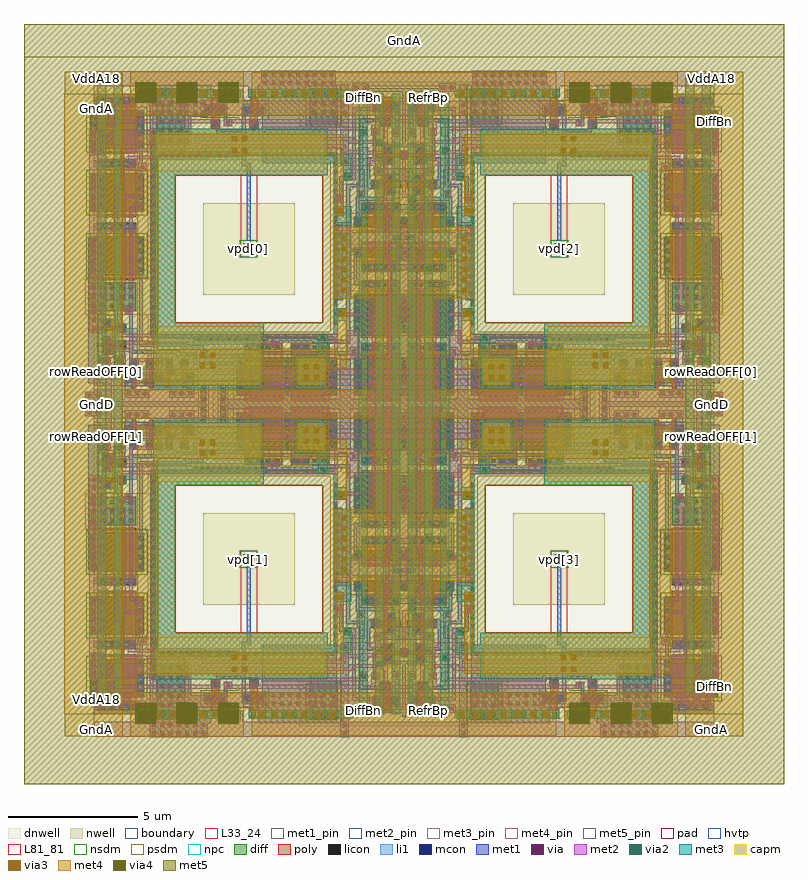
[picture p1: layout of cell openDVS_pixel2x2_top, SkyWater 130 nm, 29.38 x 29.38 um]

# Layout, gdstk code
from math import pi, radians
import gdstk
lib = gdstk.Library(unit=1e-6, precision=1e-09)
def R(c, l, rs):  # rectangles x0, y0, x1, y1
    for r in rs: c.add(gdstk.rectangle(r[:2], r[2:], *l))
def A(c, l, x, y, w, h, nx, ny, dx, dy):  # array of equal rectangles
    R(c, l, [(x+i*dx, y+j*dy, x+i*dx+w, y+j*dy+h) for i in range(nx) for j in range(ny)])
L33_24 = (33, 24)
dnwell = (64, 18)
nwell = (64, 20)
diff = (65, 20)
poly = (66, 20)
licon = (66, 44)
li1 = (67, 20)
mcon = (67, 44)
met1_pin = (68, 16)
met1 = (68, 20)
via = (68, 44)
met2_pin = (69, 16)
met2 = (69, 20)
via2 = (69, 44)
met3_pin = (70, 16)
met3 = (70, 20)
via3 = (70, 44)
met4_pin = (71, 16)
met4 = (71, 20)
via4 = (71, 44)
met5_pin = (72, 16)
met5 = (72, 20)
pad = (76, 20)
hvtp = (78, 44)
L81_81 = (81, 81)
capm = (89, 44)
nsdm = (93, 44)
psdm = (94, 20)
npc = (95, 20)
boundary = (235, 4)

contact_30_1_1 = lib.new_cell('contact$30$1$1')
R(contact_30_1_1, met4, [(-2.19,-0.59,2.19,0.59)])
A(contact_30_1_1, via4, -2, -0.4, 0.8, 0.8, 3, 1, 1.6, 0)
R(contact_30_1_1, met5, [(-2.31,-0.71,2.31,0.71)])

contact_1 = lib.new_cell('contact$1')
R(contact_1, met1, [(-1.12,-0.32,1.12,0.32)])
A(contact_1, via, -1.035, -0.235, 0.15, 0.15, 7, 2, 0.32, 0.32)
R(contact_1, met2, [(-1.12,-0.29,1.12,0.29)])

contact_26_1_1 = lib.new_cell('contact$26$1$1')
R(contact_26_1_1, met1, [(-0.16,-0.32,0.155,0.32)])
R(contact_26_1_1, via, [(-0.075,-0.235,0.075,-0.085), (-0.075,0.085,0.075,0.235)])
R(contact_26_1_1, met2, [(-0.16,-0.29,0.16,0.29)])

contact_25_1_1 = lib.new_cell('contact$25$1$1')
R(contact_25_1_1, met1, [(-1.44,-0.32,1.44,0.32)])
A(contact_25_1_1, via, -1.355, -0.235, 0.15, 0.15, 9, 2, 0.32, 0.32)
R(contact_25_1_1, met2, [(-1.44,-0.29,1.44,0.29)])

opendvs_pixel = lib.new_cell('openDVS_pixel')
R(opendvs_pixel, L33_24, [(3.31,3.275,9.01,5.83), (3.31,5.83,5.86,8.975), (6.46,5.83,9.01,8.98)])
R(opendvs_pixel, dnwell, [(3.31,3.28,9.01,8.98)])
R(opendvs_pixel, nwell, [(9.905,0.06,12.615,0.065), (4.775,0.065,12.615,2.295), (9.905,2.295,12.615,10.865), (4.39,4.36,7.93,7.9), (8.12,10.865,12.615,12.585)])
A(opendvs_pixel, diff, 0.01, 5.115, 2.1, 1.5, 1, 3, 0, 2.44)
R(opendvs_pixel, diff, [(4.325,0.065,4.495,0.875), (5.08,0.065,5.25,0.875), (5.68,0.445,9.58,1.945), (10.21,0.445,12.31,1.945), (1.355,0.935,4.055,1.355), (0.475,2.035,0.895,3.435), (2.38,2.63,9.6,2.8), (2.38,2.8,2.55,9.7), (9.43,2.8,9.6,9.7), (10.21,2.885,12.31,4.385), (-0.045,3.71,1.805,4.84), (10.21,5.775,12.31,6.195), (5.945,5.93,6.355,6.34), (11.735,6.475,12.545,6.645), (10.21,6.955,12.31,7.375), (11.425,8.195,11.845,9.045), (11.295,9.375,11.795,10.125), (2.38,9.7,9.6,9.87), (2.38,9.87,3.71,10.58), (2.58,10.58,3.71,12.335), (8.49,11.045,9.62,12.33), (5.91,11.245,6.81,11.745), (4.42,11.325,5.32,11.745), (10.935,11.4,11.955,11.82)])
A(opendvs_pixel, poly, 1.655, 0.735, 0.15, 0.82, 4, 1, 0.65, 0)
R(opendvs_pixel, poly, [(5.98,0.245,7.48,2.475), (7.78,0.245,9.28,2.475), (10.51,0.245,12.01,2.475), (1.595,1.555,1.865,1.885), (2.185,1.555,2.455,1.885), (2.955,1.555,3.225,1.885), (3.545,1.555,3.815,1.885), (1.095,2.275,1.425,2.335), (0.275,2.335,1.425,2.485), (1.095,2.485,1.425,2.545), (10.51,2.685,12.01,4.915), (1.095,2.925,1.425,2.985), (0.275,2.985,1.425,3.135), (1.095,3.135,1.425,3.195), (0.31,4.915,1.81,7.145), (10.51,5.245,12.01,6.395), (10.51,6.755,12.01,7.905), (0.31,7.355,1.81,9.585), (10.895,8.485,11.225,8.495), (10.895,8.495,12.045,8.745), (10.895,8.745,11.225,8.755), (11.995,9.615,12.325,9.675), (11.095,9.675,12.325,9.825), (0.31,9.795,1.81,11.695), (11.995,9.825,12.325,9.885), (6.21,10.715,6.51,11.945), (4.72,10.795,5.02,11.945), (11.235,10.865,11.655,12.015), (0.16,11.695,1.81,12.13)])
A(opendvs_pixel, licon, 5.745, 0.57, 0.17, 0.17, 3, 4, 1.8, 0.36)
A(opendvs_pixel, licon, 10.275, 0.57, 0.17, 0.17, 1, 4, 0, 0.36)
A(opendvs_pixel, licon, 12.075, 0.57, 0.17, 0.17, 1, 4, 0, 0.36)
A(opendvs_pixel, licon, 1.42, 1.06, 0.17, 0.17, 3, 1, 1.2, 0)
A(opendvs_pixel, licon, 6.105, 2.225, 0.17, 0.17, 4, 1, 0.36, 0)
A(opendvs_pixel, licon, 7.905, 2.225, 0.17, 0.17, 4, 1, 0.36, 0)
A(opendvs_pixel, licon, 10.635, 2.225, 0.17, 0.17, 4, 2, 0.36, 2.44)
A(opendvs_pixel, licon, 3.19, 2.63, 0.17, 0.17, 4, 1, 0.36, 0)
A(opendvs_pixel, licon, 10.275, 3.01, 0.17, 0.17, 1, 4, 0, 0.36)
A(opendvs_pixel, licon, 12.075, 3.01, 0.17, 0.17, 1, 4, 0, 0.36)
A(opendvs_pixel, licon, 2.38, 3.075, 0.17, 0.17, 1, 19, 0, 0.36)
A(opendvs_pixel, licon, 0.075, 3.83, 0.17, 0.17, 5, 3, 0.36, 0.36)
A(opendvs_pixel, licon, 0.075, 5.24, 0.17, 0.17, 1, 4, 0, 0.36)
A(opendvs_pixel, licon, 1.875, 5.24, 0.17, 0.17, 1, 4, 0, 0.36)
A(opendvs_pixel, licon, 10.635, 5.325, 0.17, 0.17, 4, 2, 0.36, 2.33)
A(opendvs_pixel, licon, 0.435, 6.895, 0.17, 0.17, 4, 3, 0.36, 2.44)
A(opendvs_pixel, licon, 0.075, 7.68, 0.17, 0.17, 1, 4, 0, 0.36)
A(opendvs_pixel, licon, 1.875, 7.68, 0.17, 0.17, 1, 4, 0, 0.36)
A(opendvs_pixel, licon, 9.43, 7.915, 0.17, 0.17, 1, 4, 0, 0.36)
A(opendvs_pixel, licon, 3.47, 9.7, 0.17, 0.17, 4, 1, 0.36, 0)
A(opendvs_pixel, licon, 0.075, 10.12, 0.17, 0.17, 1, 4, 0, 0.36)
A(opendvs_pixel, licon, 1.875, 10.12, 0.17, 0.17, 1, 4, 0, 0.36)
A(opendvs_pixel, licon, 2.7, 10.245, 0.17, 0.17, 3, 6, 0.36, 0.36)
A(opendvs_pixel, licon, 8.61, 11.325, 0.17, 0.17, 3, 3, 0.36, 0.36)
R(opendvs_pixel, licon, [(4.325,0.225,4.495,0.395), (5.08,0.225,5.25,0.395), (4.325,0.585,4.495,0.755), (5.08,0.585,5.25,0.755), (1.645,1.635,1.815,1.805), (2.235,1.635,2.405,1.805), (3.005,1.635,3.175,1.805), (3.595,1.635,3.765,1.805), (0.6,2.1,0.77,2.27), (1.175,2.325,1.345,2.495), (2.825,2.63,2.995,2.8), (4.635,2.63,4.805,2.8), (4.995,2.63,5.165,2.8), (5.36,2.63,5.53,2.8), (5.72,2.63,5.89,2.8), (6.085,2.63,6.255,2.8), (6.445,2.63,6.615,2.8), (6.81,2.63,6.98,2.8), (7.17,2.63,7.34,2.8), (7.535,2.63,7.705,2.8), (7.895,2.63,8.065,2.8), (8.26,2.63,8.43,2.8), (8.62,2.63,8.79,2.8), (8.985,2.63,9.155,2.8), (1.175,2.975,1.345,3.145), (0.6,3.2,0.77,3.37), (9.43,3.2,9.6,3.37), (9.43,3.565,9.6,3.735), (9.43,3.925,9.6,4.095), (9.43,4.29,9.6,4.46), (9.43,4.65,9.6,4.82), (9.43,5.015,9.6,5.185), (9.43,5.375,9.6,5.545), (9.43,5.74,9.6,5.91), (10.275,5.9,10.445,6.07), (12.075,5.9,12.245,6.07), (6.075,6.05,6.245,6.22), (9.43,6.1,9.6,6.27), (9.43,6.465,9.6,6.635), (11.895,6.475,12.065,6.645), (12.255,6.475,12.425,6.645), (9.43,6.825,9.6,6.995), (10.275,7.08,10.445,7.25), (12.075,7.08,12.245,7.25), (9.43,7.19,9.6,7.36), (9.43,7.55,9.6,7.72), (11.55,8.26,11.72,8.43), (10.975,8.535,11.145,8.705), (11.55,8.81,11.72,8.98), (9.43,9.36,9.6,9.53), (11.46,9.44,11.63,9.61), (12.075,9.665,12.245,9.835), (2.745,9.7,2.915,9.87), (3.105,9.7,3.275,9.87), (4.915,9.7,5.085,9.87), (5.275,9.7,5.445,9.87), (5.64,9.7,5.81,9.87), (6,9.7,6.17,9.87), (6.365,9.7,6.535,9.87), (6.725,9.7,6.895,9.87), (7.09,9.7,7.26,9.87), (7.45,9.7,7.62,9.87), (7.815,9.7,7.985,9.87), (8.175,9.7,8.345,9.87), (8.54,9.7,8.71,9.87), (8.9,9.7,9.07,9.87), (9.265,9.7,9.435,9.87), (11.46,9.89,11.63,10.06), (6.275,10.795,6.445,10.965), (4.785,10.875,4.955,11.045), (11.35,10.945,11.52,11.115), (5.975,11.41,6.145,11.58), (6.575,11.41,6.745,11.58), (4.485,11.45,4.655,11.62), (5.085,11.45,5.255,11.62), (11,11.52,11.17,11.69), (11.72,11.52,11.89,11.69)])
A(opendvs_pixel, li1, 5.745, 0.49, 0.17, 1.41, 3, 1, 1.8, 0)
A(opendvs_pixel, li1, 1.42, 0.98, 0.17, 0.33, 3, 1, 1.2, 0)
A(opendvs_pixel, li1, 0.075, 5.16, 0.17, 1.41, 1, 3, 0, 2.44)
A(opendvs_pixel, li1, 1.875, 5.16, 0.17, 1.41, 1, 3, 0, 2.44)
A(opendvs_pixel, li1, 0.355, 6.895, 1.41, 0.17, 1, 3, 0, 2.44)
R(opendvs_pixel, li1, [(4.325,0.065,4.495,0.875), (5.08,0.065,5.25,0.875), (10.275,0.49,10.445,1.9), (12.075,0.49,12.245,1.9), (2.235,1.555,2.405,1.805), (3.005,1.555,3.175,1.885), (1.565,1.635,1.895,1.805), (3.515,1.635,3.845,1.805), (2.235,1.805,2.41,1.885), (3.675,1.805,3.845,1.885), (2.24,1.885,2.41,2.085), (3.675,1.885,4.595,2.055), (4.265,2.055,4.595,2.215), (1.675,2.085,2.41,2.255), (0.52,2.1,0.85,2.27), (6.025,2.225,7.435,2.395), (7.825,2.225,9.235,2.395), (10.555,2.225,11.965,2.395), (1.175,2.245,1.345,2.575), (1.675,2.255,1.845,2.895), (2.38,2.63,9.6,2.8), (2.38,2.8,2.55,9.7), (9.43,2.8,9.6,9.7), (1.175,2.895,1.845,3.065), (10.275,2.93,10.445,4.34), (12.075,2.93,12.245,4.34), (1.175,3.065,1.345,3.225), (0.52,3.2,0.85,3.37), (-0.005,3.75,1.765,4.8), (10.555,4.665,11.965,4.835), (-0.005,4.8,1.405,4.805), (10.555,5.325,11.965,5.495), (10.275,5.82,10.445,6.15), (12.075,5.82,12.245,6.15), (5.995,5.97,6.325,6.3), (11.755,6.475,12.565,6.645), (10.275,7,10.445,7.33), (12.075,7,12.245,7.33), (10.555,7.655,11.965,7.825), (11.47,8.26,11.8,8.43), (10.975,8.455,11.145,8.785), (11.47,8.81,11.8,8.98), (11.38,9.44,11.71,9.61), (12.075,9.585,12.245,9.915), (2.38,9.7,9.6,9.87), (2.38,9.87,3.67,10.58), (11.38,9.89,11.71,10.06), (8.53,10.52,9.58,12.29), (2.62,10.58,3.67,12.295), (6.195,10.795,6.525,10.965), (4.705,10.875,5.035,11.045), (11.27,10.945,11.6,11.115), (5.975,11.33,6.145,11.66), (6.575,11.33,6.745,11.66), (4.485,11.37,4.655,11.7), (5.085,11.37,5.255,11.7), (11,11.44,11.17,11.77), (11.72,11.44,11.89,11.77)])
A(opendvs_pixel, mcon, 5.745, 0.635, 0.17, 0.17, 1, 3, 0, 0.36)
A(opendvs_pixel, mcon, 7.545, 0.635, 0.17, 0.17, 1, 3, 0, 0.36)
A(opendvs_pixel, mcon, 9.345, 0.735, 0.17, 0.17, 1, 3, 0, 0.36)
A(opendvs_pixel, mcon, 10.275, 0.735, 0.17, 0.17, 1, 3, 0, 0.36)
A(opendvs_pixel, mcon, 1.42, 1.06, 0.17, 0.17, 3, 1, 1.2, 0)
A(opendvs_pixel, mcon, 4.915, 2.63, 0.17, 0.17, 3, 1, 0.36, 0)
A(opendvs_pixel, mcon, 2.38, 3.075, 0.17, 0.17, 1, 19, 0, 0.36)
A(opendvs_pixel, mcon, 10.275, 3.295, 0.17, 0.17, 1, 3, 0, 0.36)
A(opendvs_pixel, mcon, 12.075, 3.295, 0.17, 0.17, 1, 3, 0, 0.36)
A(opendvs_pixel, mcon, 0.075, 4.195, 0.17, 0.17, 4, 2, 0.36, 0.36)
A(opendvs_pixel, mcon, 0.075, 5.24, 0.17, 0.17, 1, 4, 0, 0.36)
A(opendvs_pixel, mcon, 1.875, 5.24, 0.17, 0.17, 1, 4, 0, 0.36)
A(opendvs_pixel, mcon, 10.635, 5.325, 0.17, 0.17, 4, 2, 0.36, 2.33)
A(opendvs_pixel, mcon, 0.435, 6.895, 0.17, 0.17, 4, 3, 0.36, 2.44)
A(opendvs_pixel, mcon, 0.075, 7.68, 0.17, 0.17, 1, 4, 0, 0.36)
A(opendvs_pixel, mcon, 1.875, 7.68, 0.17, 0.17, 1, 4, 0, 0.36)
A(opendvs_pixel, mcon, 3.47, 9.7, 0.17, 0.17, 4, 1, 0.36, 0)
A(opendvs_pixel, mcon, 0.075, 10.12, 0.17, 0.17, 1, 4, 0, 0.36)
A(opendvs_pixel, mcon, 1.875, 10.12, 0.17, 0.17, 1, 4, 0, 0.36)
A(opendvs_pixel, mcon, 2.7, 10.245, 0.17, 0.17, 3, 6, 0.36, 0.36)
A(opendvs_pixel, mcon, 8.61, 11.325, 0.17, 0.17, 3, 3, 0.36, 0.36)
R(opendvs_pixel, mcon, [(4.325,0.225,4.495,0.395), (5.08,0.225,5.25,0.395), (4.325,0.585,4.495,0.755), (5.08,0.585,5.25,0.755), (12.075,1.095,12.245,1.265), (12.075,1.455,12.245,1.625), (1.645,1.635,1.815,1.805), (2.235,1.635,2.405,1.805), (3.005,1.635,3.175,1.805), (3.595,1.635,3.765,1.805), (4.345,1.965,4.515,2.135), (0.6,2.1,0.77,2.27), (6.105,2.225,6.275,2.395), (6.465,2.225,6.635,2.395), (7.905,2.225,8.075,2.395), (8.265,2.225,8.435,2.395), (10.635,2.225,10.805,2.395), (10.995,2.225,11.165,2.395), (1.175,2.325,1.345,2.495), (4.19,2.63,4.36,2.8), (4.55,2.63,4.72,2.8), (6,2.63,6.17,2.8), (6.36,2.63,6.53,2.8), (1.175,2.975,1.345,3.145), (0.6,3.2,0.77,3.37), (10.635,4.665,10.805,4.835), (10.995,4.665,11.165,4.835), (10.275,5.9,10.445,6.07), (12.075,5.9,12.245,6.07), (6.075,6.05,6.245,6.22), (11.895,6.475,12.065,6.645), (12.255,6.475,12.425,6.645), (10.275,7.08,10.445,7.25), (12.075,7.08,12.245,7.25), (11.55,8.26,11.72,8.43), (10.975,8.535,11.145,8.705), (11.55,8.81,11.72,8.98), (11.46,9.44,11.63,9.61), (12.075,9.665,12.245,9.835), (2.745,9.7,2.915,9.87), (3.105,9.7,3.275,9.87), (4.915,9.7,5.085,9.87), (5.275,9.7,5.445,9.87), (11.46,9.89,11.63,10.06), (6.275,10.795,6.445,10.965), (4.785,10.875,4.955,11.045), (11.35,10.945,11.52,11.115), (5.975,11.41,6.145,11.58), (6.575,11.41,6.745,11.58), (4.485,11.45,4.655,11.62), (5.085,11.45,5.255,11.62), (11,11.52,11.17,11.69), (11.72,11.52,11.89,11.69)])
A(opendvs_pixel, met1, 0.16, 6.865, 1.585, 0.23, 1, 3, 0, 2.44)
R(opendvs_pixel, met1, [(-0.16,-0.35,0.48,0.61), (5.05,-0.08,12.275,0.34), (0.62,0.02,4.525,0.24), (0.62,0.24,0.855,0.94), (4.295,0.24,4.525,0.84), (5.05,0.34,5.28,0.855), (6.22,0.34,9.035,1.615), (9.685,0.34,10.105,1.865), (10.76,0.34,12.275,1.915), (1.36,0.38,2.32,0.7), (3.09,0.38,4.05,0.7), (5.715,0.48,5.945,1.625), (9.315,0.48,9.545,1.755), (10.245,0.48,10.48,1.875), (1.36,0.7,1.65,1.29), (3.76,0.7,4.05,1.29), (2.1,0.84,2.42,1.1), (-0.045,0.94,0.855,1.48), (2.56,1,2.85,1.29), (2.195,1.1,2.42,1.535), (2.99,1.24,3.31,1.5), (2.635,1.29,2.775,1.605), (-0.045,1.48,0.365,2.89), (2.975,1.5,3.205,1.905), (2.195,1.535,2.435,1.605), (1.54,1.605,1.915,1.835), (2.205,1.605,2.435,1.905), (2.575,1.605,2.835,1.93), (3.495,1.605,3.865,1.835), (4.005,1.625,5.945,1.765), (0.505,1.64,0.825,1.9), (1.13,1.64,1.4,1.965), (6.1,1.755,9.545,1.895), (4.005,1.765,4.145,1.975), (1.54,1.835,1.68,2.07), (10.245,1.875,10.385,2.005), (6.1,1.895,6.24,1.905), (4.285,1.905,6.24,2.045), (11.505,1.915,12.275,2.795), (1.145,1.965,1.375,2.595), (3.345,1.975,4.145,2.07), (10.065,2.005,10.385,2.035), (6.555,2.035,10.385,2.175), (0.54,2.04,0.985,2.29), (4.285,2.045,4.575,2.195), (1.54,2.07,4.145,2.115), (1.54,2.115,3.485,2.21), (6.555,2.175,6.695,2.195), (7.845,2.175,8.495,2.425), (10.065,2.175,10.385,2.325), (4.285,2.195,4.425,2.255), (6.045,2.195,6.695,2.425), (10.575,2.195,11.225,2.425), (1.54,2.21,1.68,3.6), (3.625,2.255,4.425,2.35), (0.54,2.29,0.83,2.75), (7.04,2.315,7.365,2.565), (1.93,2.35,4.425,2.395), (1.93,2.395,3.765,2.49), (10.905,2.425,11.225,2.515), (8.635,2.465,10.075,2.565), (1.93,2.49,2.07,5.18), (7.04,2.565,10.075,2.605), (4.03,2.6,6.865,2.69), (7.04,2.605,8.79,2.705), (9.935,2.605,10.075,5.99), (2.35,2.69,6.865,2.83), (10.245,2.795,12.275,3.35), (2.35,2.83,2.58,9.67), (1.145,2.875,1.375,3.245), (-0.045,2.89,0.64,3.14), (-0.045,3.14,0.83,3.43), (10.245,3.35,12.48,3.99), (-0.045,3.43,0.64,4.135), (1.36,3.6,1.68,3.92), (10.245,3.99,12.275,4.33), (-0.045,4.135,1.385,4.785), (9.465,4.135,9.795,7.15), (10.575,4.635,11.225,4.725), (10.215,4.725,11.225,4.865), (-0.045,4.785,0.64,6.41), (10.215,4.865,10.355,5.84), (1.845,5.18,2.075,6.55), (10.575,5.295,12.16,5.525), (11.35,5.665,11.67,5.925), (11.84,5.665,12.48,6.445), (10.215,5.84,10.505,5.99), (11.44,5.925,11.58,7.195), (6.015,5.99,6.305,6.28), (9.935,5.99,10.505,6.13), (9.935,6.13,10.075,8.51), (6.09,6.28,6.23,9.32), (-0.045,6.41,0.275,6.55), (11.79,6.445,12.53,6.675), (12.015,6.675,12.305,7.31), (10.215,7.02,10.505,7.31), (11.44,7.195,11.76,7.455), (10.295,7.31,10.435,7.995), (0.045,7.62,0.275,7.67), (1.755,7.62,2.075,7.94), (10.575,7.625,12.16,7.855), (0,7.67,0.64,8.95), (9.535,7.905,9.795,8.225), (1.845,7.94,2.075,8.99), (10.295,7.995,11.78,8.135), (10.325,8.135,10.645,8.37), (11.49,8.135,11.78,8.49), (9.655,8.225,9.795,8.79), (10.79,8.435,11.175,8.51), (9.935,8.51,10.58,8.65), (10.72,8.51,11.175,8.805), (10.44,8.65,10.58,11.035), (11.49,8.75,12.16,8.945), (9.655,8.79,10.3,8.93), (10.72,8.805,10.86,9.53), (10.16,8.93,10.3,11.46), (11,8.945,12.16,9.24), (0.045,8.95,0.275,8.99), (1.89,9.13,2.21,9.45), (11,9.24,11.26,9.265), (5.895,9.32,6.23,9.46), (9.76,9.34,10.02,9.39), (11.4,9.38,11.69,9.53), (9.705,9.39,10.02,12.485), (6.685,9.44,9.565,11.35), (1.92,9.45,2.06,10.06), (5.895,9.46,6.035,10.53), (10.72,9.53,11.69,9.67), (11.975,9.635,12.345,9.865), (2.35,9.67,5.755,9.9), (10.955,9.67,11.095,10.515), (0,9.74,0.64,10.7), (11.4,9.83,11.69,10.05), (2.35,9.9,2.58,10.15), (11.4,10.05,12.23,10.19), (1.845,10.06,2.075,11.43), (2.33,10.15,3.93,11.39), (12.09,10.19,12.23,12.245), (11.69,10.455,11.95,10.775), (10.895,10.515,11.215,10.775), (4.915,10.53,6.035,10.67), (4.915,10.67,5.055,10.845), (5.895,10.67,6.035,11.35), (0.045,10.7,0.275,11.43), (6.175,10.765,6.545,10.995), (11.81,10.775,11.95,11.46), (4.685,10.845,5.055,11.075), (5.195,10.87,5.515,11.13), (11.25,10.915,11.62,11.035), (6.175,10.995,6.495,11.13), (10.44,11.035,11.63,11.175), (5.195,11.13,5.335,11.39), (5.895,11.35,6.205,11.64), (6.515,11.35,9.565,12.48), (2.33,11.39,4.715,12.48), (5.025,11.39,5.335,11.68), (10.16,11.46,11.23,11.6), (11.66,11.46,11.95,11.75), (10.94,11.6,11.23,11.75)])
A(opendvs_pixel, via, -0.075, -0.265, 0.15, 0.15, 1, 3, 0, 0.32)
A(opendvs_pixel, via, 0.245, -0.265, 0.15, 0.15, 1, 3, 0, 0.32)
A(opendvs_pixel, via, 1.445, 0.465, 0.15, 0.15, 3, 1, 0.32, 0)
A(opendvs_pixel, via, 3.175, 0.465, 0.15, 0.15, 3, 1, 0.32, 0)
A(opendvs_pixel, via, 0.085, 2.975, 0.15, 0.15, 1, 11, 0, 0.32)
A(opendvs_pixel, via, 0.405, 2.975, 0.15, 0.15, 1, 11, 0, 0.32)
A(opendvs_pixel, via, 9.52, 4.355, 0.15, 0.15, 1, 9, 0, 0.32)
A(opendvs_pixel, via, 0.085, 7.755, 0.15, 0.15, 1, 4, 0, 0.32)
A(opendvs_pixel, via, 0.405, 7.755, 0.15, 0.15, 1, 4, 0, 0.32)
A(opendvs_pixel, via, 0.085, 9.825, 0.15, 0.15, 1, 3, 0, 0.32)
A(opendvs_pixel, via, 0.405, 9.825, 0.15, 0.15, 1, 3, 0, 0.32)
A(opendvs_pixel, via, 2.415, 10.235, 0.15, 0.15, 5, 2, 0.32, 0.32)
R(opendvs_pixel, via, [(2.185,0.895,2.335,1.045), (3.075,1.295,3.225,1.445), (0.59,1.695,0.74,1.845), (2.63,1.695,2.78,1.845), (1.185,1.725,1.335,1.875), (10.15,2.09,10.3,2.24), (10.99,2.28,11.14,2.43), (7.13,2.37,7.28,2.52), (0.595,2.515,0.745,2.665), (11.925,3.435,12.075,3.585), (12.245,3.435,12.395,3.585), (1.445,3.685,1.595,3.835), (11.925,3.755,12.075,3.905), (12.245,3.755,12.395,3.905), (11.435,5.72,11.585,5.87), (11.925,5.75,12.075,5.9), (12.245,5.75,12.395,5.9), (11.925,6.07,12.075,6.22), (12.245,6.07,12.395,6.22), (11.525,7.25,11.675,7.4), (1.84,7.705,1.99,7.855), (9.59,7.99,9.74,8.14), (10.41,8.165,10.56,8.315), (11.055,9.03,11.205,9.18), (1.975,9.215,2.125,9.365), (9.815,9.425,9.965,9.575), (11.745,10.54,11.895,10.69), (10.98,10.57,11.13,10.72), (5.28,10.925,5.43,11.075), (6.26,10.925,6.41,11.075)])
R(opendvs_pixel, met2, [(0.16,-0.44,12.16,-0.35), (-0.16,-0.35,12.16,0.61), (0.16,0.61,12.16,0.7), (0.16,0.84,12.16,1.1), (0.16,1.24,12.16,1.5), (0.335,1.64,0.825,1.925), (0.965,1.64,1.4,2.01), (2.54,1.64,2.865,1.76), (1.54,1.76,2.865,1.9), (9.465,1.865,11.67,2.005), (1.54,1.9,1.68,2.15), (0.335,1.925,0.755,2.01), (9.465,2.005,9.605,2.715), (9.96,2.005,10.385,2.99), (11.53,2.005,11.67,5.665), (0.615,2.01,0.755,2.15), (0.615,2.15,1.68,2.29), (10.905,2.195,11.225,2.515), (7.04,2.315,7.365,2.43), (0.54,2.43,7.365,2.57), (8.85,2.485,9.22,2.715), (10.905,2.515,11.045,3.52), (0.54,2.57,0.81,2.75), (7.04,2.57,7.365,2.575), (1.08,2.715,9.605,2.855), (1.08,2.855,1.22,4.13), (0,2.89,0.64,10.15), (11.84,3.35,12.48,6.065), (9.515,3.52,11.045,3.66), (1.36,3.6,1.68,3.92), (9.515,3.66,9.885,3.8), (1.54,3.92,1.68,7.62), (1.08,4.13,1.4,4.27), (9.465,4.195,10.12,6.065), (1.26,4.27,1.4,8.095), (11.35,5.665,11.67,5.925), (9.465,6.065,12.48,6.775), (9.465,6.775,10.12,7.15), (11.1,6.915,12.16,7.055), (0.98,6.96,1.12,8.4), (11.1,7.055,11.24,8.665), (11.38,7.195,11.76,7.455), (9.525,7.41,9.805,8.24), (11.38,7.455,11.52,8.385), (1.54,7.62,2.075,7.76), (1.755,7.76,2.075,7.94), (1.26,8.095,2.06,8.235), (10.325,8.11,10.645,8.775), (1.92,8.235,2.06,9.13), (11.38,8.385,11.83,8.525), (0.98,8.4,1.35,8.54), (11.69,8.525,11.83,10.455), (1.21,8.54,1.35,9.87), (11.1,8.665,11.54,8.805), (9.79,8.775,10.645,9.2), (11.4,8.805,11.54,9.775), (11,8.945,11.26,9.34), (1.89,9.13,2.21,9.45), (1.49,9.305,1.63,9.59), (9.76,9.34,11.26,9.635), (1.49,9.59,4.49,9.73), (9.76,9.635,10.02,9.66), (4.35,9.73,4.49,10.03), (10.4,9.775,11.54,9.8), (9.76,9.8,11.54,9.915), (1.21,9.87,4.21,10.01), (9.76,9.915,10.77,9.94), (9.76,9.94,9.9,10.03), (10.4,9.94,10.77,10.055), (4.07,10.01,4.21,10.31), (4.35,10.03,9.9,10.17), (11.03,10.095,11.4,10.195), (0,10.15,3.93,10.73), (10.045,10.195,11.54,10.31), (4.07,10.31,11.54,10.335), (4.07,10.335,10.23,10.45), (11.03,10.335,11.54,10.375), (11.4,10.375,11.54,10.99), (11.69,10.455,11.95,10.775), (10.44,10.475,10.725,10.71), (10.895,10.515,11.215,10.99), (4.91,10.59,6.775,10.71), (4.91,10.71,10.725,10.73), (2.33,10.73,3.93,10.79), (4.91,10.73,5.05,10.99), (6.635,10.73,10.725,10.85), (5.195,10.87,5.515,10.99), (6.175,10.87,6.495,10.99), (0.16,10.99,5.05,11.13), (5.195,10.99,11.215,11.13), (11.4,10.99,12.16,11.13), (0.16,11.27,12.16,11.85), (1.86,11.99,5.94,12.27), (6.15,11.99,10.19,12.27), (0.16,12.41,12.16,12.99)])
A(opendvs_pixel, via2, 9.725, 4.43, 0.2, 0.2, 1, 6, 0, 0.4)
A(opendvs_pixel, via2, 1.965, 12.03, 0.2, 0.2, 10, 1, 0.4, 0)
A(opendvs_pixel, via2, 6.235, 12.03, 0.2, 0.2, 10, 1, 0.4, 0)
R(opendvs_pixel, via2, [(0.375,1.725,0.575,1.925), (1.005,1.725,1.205,1.925), (8.935,2.57,9.135,2.77), (9.6,3.56,9.8,3.76), (9.565,7.495,9.765,7.695), (9.855,8.86,10.055,9.06)])
A(opendvs_pixel, met3, 10.42, 0.13, 0.33, 12, 6, 1, 0.63, 0)
R(opendvs_pixel, met3, [(0.31,0.13,0.64,11.27), (0.94,0.13,1.27,11.27), (2.47,0.73,6.735,3.28), (7.94,0.73,9.22,2.01), (8.85,2.01,9.22,2.855), (2.47,3.28,3.31,8.98), (9.465,3.345,9.955,3.835), (9.465,4.195,10.12,6.715), (9.5,7.015,10.12,7.78), (9.79,8.77,10.12,9.44), (2.47,8.98,9.22,9.44), (2.47,9.44,10.12,9.77), (2.47,9.77,9.22,10.765), (1.88,11.965,5.85,12.295), (6.15,11.965,10.12,12.295)])
A(opendvs_pixel, via3, 9.725, 4.43, 0.2, 0.2, 1, 6, 0, 0.4)
A(opendvs_pixel, via3, 2.05, 12.03, 0.2, 0.2, 7, 1, 0.55, 0)
A(opendvs_pixel, via3, 6.53, 12.03, 0.2, 0.2, 7, 1, 0.55, 0)
R(opendvs_pixel, via3, [(8.28,1.07,8.48,1.27), (8.68,1.07,8.88,1.27), (8.28,1.47,8.48,1.67), (8.68,1.47,8.88,1.67), (4.265,1.52,4.465,1.72), (4.665,1.52,4.865,1.72), (4.265,1.92,4.465,2.12), (4.665,1.92,4.865,2.12), (9.665,3.505,9.865,3.705), (9.565,7.49,9.765,7.69), (5.505,9.82,5.705,10.02), (5.905,9.82,6.105,10.02), (5.505,10.285,5.705,10.485), (5.905,10.285,6.105,10.485)])
R(opendvs_pixel, met4, [(-0.7,-0.42,13.285,0.68), (-0.7,0.68,1.285,12.97), (11.035,0.68,13.285,4.195), (1.855,1.005,9.165,1.515), (1.855,1.515,9.955,2.245), (1.855,2.245,2.64,9.755), (5.14,2.245,5.87,2.255), (9.575,2.245,9.955,3.795), (9.465,4.195,13.285,6.985), (11.035,6.985,13.285,11.3), (9.5,7.385,9.83,9.755), (1.855,9.755,9.83,10.55), (1.585,11.29,5.965,12.97), (6.265,11.3,13.285,12.96)])
R(opendvs_pixel, met5, [(-2.53,-2.56,14.855,3.28), (-2.53,3.28,3.31,8.98), (9.01,3.28,14.855,8.98), (-2.53,8.98,14.855,14.82)])
R(opendvs_pixel, pad, [(3.31,3.28,9.01,8.98)])
R(opendvs_pixel, hvtp, [(10.33,6.775,12.19,7.555), (11.055,11.22,11.835,12)])
R(opendvs_pixel, L81_81, [(3.31,3.28,9.01,8.98)])
R(opendvs_pixel, capm, [(2.61,0.87,6.595,3.14), (8.08,0.87,9.08,1.87), (2.61,9.12,9.08,10.625)])
A(opendvs_pixel, nsdm, -0.115, 4.99, 2.35, 1.75, 1, 3, 0, 2.44)
R(opendvs_pixel, nsdm, [(4.955,-0.06,5.375,1), (1.23,0.81,4.18,1.48), (0.35,1.91,1.02,3.56), (5.82,5.805,6.48,6.465), (11.61,6.35,12.67,6.77), (8.365,10.92,9.745,12.455), (5.785,11.12,6.935,11.2), (4.295,11.2,6.935,11.87)])
R(opendvs_pixel, psdm, [(4.2,-0.06,4.62,1), (5.555,0.32,9.705,2.07), (10.085,0.32,12.435,2.07), (2.255,2.505,9.725,2.76), (2.255,2.76,12.435,2.925), (2.255,2.925,2.675,3.585), (9.305,2.925,12.435,4.51), (-0.17,3.585,2.675,4.965), (9.305,4.51,9.725,5.65), (2.255,4.965,2.675,9.575), (9.305,5.65,12.435,6.32), (9.305,6.32,9.725,6.83), (9.305,6.83,12.435,7.5), (9.305,7.5,9.725,9.575), (11.3,8.07,11.97,9.17), (11.3,9.17,11.92,9.25), (11.17,9.25,11.92,10.25), (2.255,9.575,9.725,9.995), (2.255,9.995,3.835,10.705), (2.455,10.705,3.835,12.46), (10.81,11.275,12.08,11.945)])
A(opendvs_pixel, npc, 0.335, 6.795, 1.45, 0.37, 1, 3, 0, 2.44)
R(opendvs_pixel, npc, [(1.545,1.535,2.505,1.905), (2.905,1.535,3.865,1.905), (6.005,2.125,7.455,2.495), (7.805,2.125,9.255,2.495), (10.535,2.125,11.985,2.495), (1.075,2.225,1.445,2.595), (1.075,2.875,1.445,3.245), (10.535,4.565,11.985,4.935), (10.535,5.225,11.985,5.595), (10.535,7.555,11.985,7.925), (10.875,8.435,11.245,8.805), (11.975,9.565,12.345,9.935), (6.175,10.695,6.545,11.065), (4.685,10.775,5.055,11.145), (11.25,10.845,11.62,11.215)])
R(opendvs_pixel, boundary, [(10.445,0.725,10.51,0.73)])
opendvs_pixel.add(gdstk.Label('nRst', (10.43,4.75), layer=68, texttype=5))
opendvs_pixel.add(gdstk.Label('PrSFBp', (11.7,7.85), layer=68, texttype=5))
opendvs_pixel.add(gdstk.Label('nRst', (10.22,6.13), layer=68, texttype=5))
opendvs_pixel.add(gdstk.Label('vdiff', (8.005,2.325), layer=68, texttype=5))
opendvs_pixel.add(gdstk.Label('GndA', (0.275,6.36), layer=68, texttype=5))
opendvs_pixel.add(gdstk.Label('DiffBn', (1.015,11.975), layer=68, texttype=5))
opendvs_pixel.add(gdstk.Label('OnBn', (1.015,9.535), layer=68, texttype=5))
opendvs_pixel.add(gdstk.Label('OffBn', (1.015,7.095), layer=68, texttype=5))
opendvs_pixel.add(gdstk.Label('rowReadON', (1.365,3.245), layer=68, texttype=5))
opendvs_pixel.add(gdstk.Label('nRst', (0.815,2.05), layer=68, texttype=5))
opendvs_pixel.add(gdstk.Label('RefrBp', (11.7,5.525), layer=68, texttype=5))
opendvs_pixel.add(gdstk.Label('OffBn', (0.345,7.095), layer=68, texttype=5))
opendvs_pixel.add(gdstk.Label('vdiff', (10.255,1.865), layer=68, texttype=5))
opendvs_pixel.add(gdstk.Label('ON', (5.895,1.615), layer=68, texttype=5))
opendvs_pixel.add(gdstk.Label('vpr', (5.195,11.09), layer=68, texttype=5))
opendvs_pixel.add(gdstk.Label('vd', (11.22,2.41), layer=68, texttype=5))
opendvs_pixel.add(gdstk.Label('VddA18', (10.43,4.305), layer=68, texttype=5))
opendvs_pixel.add(gdstk.Label('VddA18', (6.595,11.63), layer=68, texttype=5))
opendvs_pixel.add(gdstk.Label('VddA18', (7.715,1.615), layer=68, texttype=5))
opendvs_pixel.add(gdstk.Label('VddA18', (12.075,1.875), layer=68, texttype=5))
opendvs_pixel.add(gdstk.Label('GndA', (4.445,11.63), layer=68, texttype=5))
opendvs_pixel.add(gdstk.Label('GndA', (0.275,10.955), layer=68, texttype=5))
opendvs_pixel.add(gdstk.Label('GndA', (0.275,8.905), layer=68, texttype=5))
opendvs_pixel.add(gdstk.Label('GndA', (0.815,3.43), layer=68, texttype=5))
opendvs_pixel.add(gdstk.Label('GndA', (12.16,9.035), layer=68, texttype=5))
opendvs_pixel.add(gdstk.Label('vsf', (10.215,7.31), layer=68, texttype=5))
opendvs_pixel.add(gdstk.Label('nOFF', (9.515,1.87), layer=68, texttype=5))
opendvs_pixel.add(gdstk.Label('pixRst', (1.355,1.97), layer=68, texttype=5))
opendvs_pixel.add(gdstk.Label('rowReadON', (2.21,1.825), layer=68, texttype=5))
opendvs_pixel.add(gdstk.Label('rowReadOFF', (2.985,1.825), layer=68, texttype=5))
opendvs_pixel.add(gdstk.Label('readLine', (2.56,1.28), layer=68, texttype=5))
opendvs_pixel.add(gdstk.Label('PrBp', (12.345,9.865), layer=68, texttype=5))
opendvs_pixel.add(gdstk.Label('VddA18', (12.035,7.31), layer=68, texttype=5))
opendvs_pixel.add(gdstk.Label('vd', (11.125,11.5), layer=68, texttype=5))
opendvs_pixel.add(gdstk.Label('nRst', (11.425,11.175), layer=68, texttype=5))
opendvs_pixel.add(gdstk.Label('vdiff', (11.95,11.5), layer=68, texttype=5))
opendvs_pixel.add(gdstk.Label('VddA18', (11.575,10.105), layer=68, texttype=5))
opendvs_pixel.add(gdstk.Label('vpr', (11.09,9.675), layer=68, texttype=5))
opendvs_pixel.add(gdstk.Label('GndD', (4.04,1.19), layer=68, texttype=5))
opendvs_pixel.add(gdstk.Label('GndA', (4.405,0.79), layer=68, texttype=5))
opendvs_pixel.add(gdstk.Label('vpd', (5.9,10.475), layer=68, texttype=5))
opendvs_pixel.add(gdstk.Label('vpd', (6.275,6.02), layer=68, texttype=5))

opendvs_pixel2x2_top = lib.new_cell('openDVS_pixel2x2_top')
R(opendvs_pixel2x2_top, met1_pin, [(-12.06,-6.33,-11.77,-6.04), (-0.06,-6.33,0.23,-6.04), (-12.06,5.68,-11.77,5.97), (-0.06,5.68,0.23,5.97)])
R(opendvs_pixel2x2_top, met1, [(-7.275,-12.11,-4.555,-11.97), (-17.345,-11.795,-17.085,-10.89), (5.265,-11.795,5.525,-10.89), (-6.045,-9.96,-5.785,-9.64), (-16.585,-9.64,-16.325,-9.32), (4.495,-9.64,4.755,-9.32), (-6.385,-7.905,-6.065,-7.645), (-17.275,-7.16,-16.955,-6.9), (5.125,-7.16,5.445,-6.9), (-12.06,-6.33,-11.77,-6.04), (-0.06,-6.33,0.23,-6.04), (-5.135,-5.575,-4.815,-5.205), (-5.135,4.845,-4.815,5.215), (-12.06,5.68,-11.77,5.97), (-0.06,5.68,0.23,5.97), (-17.275,6.54,-16.955,6.8), (5.125,6.54,5.445,6.8), (-6.385,7.285,-6.065,7.545), (-16.585,8.96,-16.325,9.28), (4.495,8.96,4.755,9.28), (-6.045,9.28,-5.785,9.6), (-17.345,10.53,-17.085,11.435), (5.265,10.53,5.525,11.435), (-7.915,11.89,-3.915,12.03), (-7.915,12.03,-7.275,12.21), (-4.555,12.03,-3.915,12.21)])
R(opendvs_pixel2x2_top, via, [(-17.29,-11.125,-17.14,-10.975), (5.32,-11.125,5.47,-10.975), (-5.99,-9.875,-5.84,-9.725), (-16.53,-9.555,-16.38,-9.405), (4.55,-9.555,4.7,-9.405), (-6.3,-7.85,-6.15,-7.7), (-17.19,-7.105,-17.04,-6.955), (5.21,-7.105,5.36,-6.955), (-5.05,-5.46,-4.9,-5.31), (-5.05,4.96,-4.9,5.11), (-17.19,6.595,-17.04,6.745), (5.21,6.595,5.36,6.745), (-6.3,7.34,-6.15,7.49), (-16.53,9.045,-16.38,9.195), (4.55,9.045,4.7,9.195), (-5.99,9.365,-5.84,9.515), (-17.29,10.615,-17.14,10.765), (5.32,10.615,5.47,10.765), (-7.83,11.975,-7.68,12.125), (-7.51,11.975,-7.36,12.125), (-4.47,11.975,-4.32,12.125), (-4.15,11.975,-4,12.125)])
R(opendvs_pixel2x2_top, met2_pin, [(-17.915,-13.04,-17.655,-12.46), (5.825,-13.04,6.085,-12.46), (-17.915,-11.9,-17.655,-11.32), (5.825,-11.9,6.085,-11.32), (-17.915,-1.55,-17.655,-1.29), (5.825,-1.55,6.085,-1.29), (-17.915,-1.15,-17.655,-0.89), (5.825,-1.15,6.085,-0.89), (-17.915,-0.75,-17.655,0.39), (5.825,-0.75,6.085,0.39), (-17.915,0.53,-17.655,0.79), (5.825,0.53,6.085,0.79), (-17.915,0.93,-17.655,1.19), (5.825,0.93,6.085,1.19), (-17.915,10.96,-17.655,11.54), (5.825,10.96,6.085,11.54), (-17.915,12.1,-17.655,12.68), (5.825,12.1,6.085,12.68)])
R(opendvs_pixel2x2_top, met2, [(-17.915,-13.04,-17.655,-12.46), (5.825,-13.04,6.085,-12.46), (-16.215,-12.46,-12.135,-12.04), (0.305,-12.46,4.385,-12.04), (-11.925,-12.32,-7.885,-11.9), (-3.945,-12.32,0.095,-11.9), (-17.915,-11.9,-17.655,-11.32), (5.825,-11.9,6.085,-11.32), (-17.375,-11.18,-17.055,-10.92), (5.235,-11.18,5.555,-10.92), (-7.62,-10.895,-7.335,-10.85), (-7.63,-10.85,-7.335,-10.57), (-7.62,-10.57,-7.335,-10.525), (-7.045,-10.385,-6.675,-10.105), (-4.525,-10.105,-4.2,-9.825), (-6.045,-9.96,-5.785,-9.64), (-16.585,-9.64,-16.325,-9.32), (-5.985,-9.64,-5.845,-8.29), (4.495,-9.64,4.755,-9.32), (-5.985,-8.29,-5.46,-8.15), (-5.74,-8.15,-5.46,-7.92), (-6.415,-7.925,-6.045,-7.645), (-17.275,-7.16,-16.955,-6.9), (5.125,-7.16,5.445,-6.9), (-5.11,-5.575,-4.83,-5.205), (-17.915,-1.55,-17.655,-1.29), (5.825,-1.55,6.085,-1.29), (-17.915,-1.15,-17.655,-0.89), (5.825,-1.15,6.085,-0.89), (-17.915,-0.75,-17.655,0.39), (5.825,-0.75,6.085,0.39), (-17.915,0.53,-17.655,0.79), (5.825,0.53,6.085,0.79), (-17.915,0.93,-17.655,1.19), (5.825,0.93,6.085,1.19), (-5.11,4.845,-4.83,5.215), (-17.275,6.54,-16.955,6.8), (5.125,6.54,5.445,6.8), (-6.415,7.285,-6.045,7.565), (-5.74,7.56,-5.46,7.79), (-5.985,7.79,-5.46,7.93), (-5.985,7.93,-5.845,9.28), (-16.585,8.96,-16.325,9.28), (4.495,8.96,4.755,9.28), (-6.045,9.28,-5.785,9.6), (-4.525,9.465,-4.2,9.745), (-7.045,9.785,-6.675,10.065), (-7.635,10.165,-7.35,10.535), (-17.375,10.56,-17.055,10.82), (5.235,10.56,5.555,10.82), (-17.915,10.96,-17.655,11.54), (5.825,10.96,6.085,11.54), (-16.215,11.54,-12.135,11.96), (0.305,11.54,4.385,11.96), (-11.935,11.68,-7.885,11.92), (-3.945,11.68,0.11,11.92), (-11.935,11.92,-7.625,12.1), (-7.565,11.92,-7.305,12.18), (-4.525,11.92,-4.265,12.18), (-4.205,11.92,0.11,12.1), (-17.915,12.1,-17.655,12.68), (-7.885,12.1,-7.625,12.18), (-4.205,12.1,-3.945,12.18), (5.825,12.1,6.085,12.68)])
R(opendvs_pixel2x2_top, via2, [(-7.59,-10.81,-7.39,-10.61), (-6.96,-10.345,-6.76,-10.145), (-4.44,-10.065,-4.24,-9.865), (-5.7,-8.205,-5.5,-8.005), (-6.33,-7.885,-6.13,-7.685), (-5.07,-5.49,-4.87,-5.29), (-5.07,4.93,-4.87,5.13), (-6.33,7.325,-6.13,7.525), (-5.7,7.645,-5.5,7.845), (-4.44,9.505,-4.24,9.705), (-6.96,9.825,-6.76,10.025), (-7.59,10.25,-7.39,10.45)])
A(opendvs_pixel2x2_top, met3_pin, -7.655, -12.18, 0.33, 0.29, 6, 2, 0.63, 23.71)
R(opendvs_pixel2x2_top, met3_pin, [(-17.765,-11.34,-17.435,-11.05), (-17.135,-11.34,-16.805,-11.05), (4.975,-11.34,5.305,-11.05), (5.605,-11.34,5.935,-11.05), (-17.765,12.37,-17.435,12.66), (-17.135,12.37,-16.805,12.66), (4.975,12.37,5.305,12.66), (5.605,12.37,5.935,12.66)])
A(opendvs_pixel2x2_top, met3, -7.655, -12.18, 0.33, 0.29, 6, 2, 0.63, 23.71)
R(opendvs_pixel2x2_top, met3, [(-17.765,-11.34,-17.435,12.66), (-17.135,-11.34,-16.805,12.66), (4.975,-11.34,5.305,12.66), (5.605,-11.34,5.935,12.66), (-7.63,-10.85,-7.35,-10.57), (-7,-10.385,-6.72,-10.105), (-4.48,-10.105,-4.2,-9.825), (-5.74,-8.245,-5.46,-7.965), (-6.37,-7.925,-6.09,-7.645), (-5.11,-5.53,-4.83,-5.25), (-5.11,4.89,-4.83,5.17), (-6.37,7.285,-6.09,7.565), (-5.74,7.605,-5.46,7.885), (-4.48,9.465,-4.2,9.745), (-7,9.785,-6.72,10.065), (-7.63,10.21,-7.35,10.49)])
R(opendvs_pixel2x2_top, met4_pin, [(-11.81,-13.01,-0.02,-11.35), (-19.04,-12.18,-16.79,11.82), (4.96,-12.18,7.205,11.82), (-11.81,10.99,-0.02,12.65)])
R(opendvs_pixel2x2_top, met4, [(-19.035,-13.02,-16.79,-12.18), (4.96,-13.02,7.205,12.66), (-11.81,-13.01,-0.02,-11.35), (-19.04,-12.18,-16.79,11.82), (-11.81,10.99,-0.02,12.65), (-19.035,11.82,-16.79,12.66)])
R(opendvs_pixel2x2_top, met5_pin, [(-20.605,13.22,8.775,14.51)])
R(opendvs_pixel2x2_top, met5, [(-20.605,-14.87,8.775,-13.58), (-20.605,-13.58,-19.315,13.22), (7.485,-13.58,8.775,13.22), (-20.605,13.22,8.775,14.51)])
R(opendvs_pixel2x2_top, psdm, [(-5.995,-11.995,-5.835,-11.325), (-5.995,10.965,-5.835,11.635)])
R(opendvs_pixel2x2_top, boundary, [(-17.915,-13.04,6.085,12.68)])
opendvs_pixel2x2_top.add(gdstk.Reference(contact_30_1_1, (-14.3,-12.135)))
opendvs_pixel2x2_top.add(gdstk.Reference(contact_1, (-14.625,-12.75)))
opendvs_pixel2x2_top.add(gdstk.Reference(contact_26_1_1, (-8.21,-12.75)))
opendvs_pixel2x2_top.add(gdstk.Reference(contact_26_1_1, (-7.595,-11.95), rotation=pi/2))
opendvs_pixel2x2_top.add(gdstk.Reference(contact_25_1_1, (-10,-11.61)))
opendvs_pixel2x2_top.add(gdstk.Reference(contact_26_1_1, (-4.235,-11.95), rotation=pi/2))
opendvs_pixel2x2_top.add(gdstk.Reference(contact_26_1_1, (-3.615,-12.75)))
opendvs_pixel2x2_top.add(gdstk.Reference(contact_25_1_1, (-1.83,-11.61)))
opendvs_pixel2x2_top.add(gdstk.Reference(contact_30_1_1, (2.47,-12.135)))
opendvs_pixel2x2_top.add(gdstk.Reference(contact_1, (2.795,-12.75)))
opendvs_pixel2x2_top.add(gdstk.Reference(contact_30_1_1, (-14.3,11.865)))
opendvs_pixel2x2_top.add(gdstk.Reference(contact_1, (-14.625,11.25)))
opendvs_pixel2x2_top.add(gdstk.Reference(contact_26_1_1, (-8.21,11.25)))
opendvs_pixel2x2_top.add(gdstk.Reference(contact_26_1_1, (-7.595,12.05), rotation=pi/2))
opendvs_pixel2x2_top.add(gdstk.Reference(contact_25_1_1, (-10,12.39)))
opendvs_pixel2x2_top.add(gdstk.Reference(contact_26_1_1, (-3.615,11.25)))
opendvs_pixel2x2_top.add(gdstk.Reference(contact_26_1_1, (-4.235,12.05), rotation=pi/2))
opendvs_pixel2x2_top.add(gdstk.Reference(contact_25_1_1, (-1.83,12.39), rotation=pi, x_reflection=True))
opendvs_pixel2x2_top.add(gdstk.Reference(contact_30_1_1, (2.47,11.865)))
opendvs_pixel2x2_top.add(gdstk.Reference(contact_1, (2.795,11.25), rotation=pi, x_reflection=True))
opendvs_pixel2x2_top.add(gdstk.Reference(opendvs_pixel, (6.245,-0.31), rotation=pi, x_reflection=True))
opendvs_pixel2x2_top.add(gdstk.Reference(opendvs_pixel, (-18.075,-0.05), x_reflection=True))
opendvs_pixel2x2_top.add(gdstk.Reference(opendvs_pixel, (6.245,-0.05), rotation=pi))
opendvs_pixel2x2_top.add(gdstk.Reference(opendvs_pixel, (-18.075,-0.31)))
opendvs_pixel2x2_top.add(gdstk.Label('vpd[2]', (0.085,5.825), layer=68, texttype=5))
opendvs_pixel2x2_top.add(gdstk.Label('vpd[3]', (0.085,-6.185), layer=68, texttype=5))
opendvs_pixel2x2_top.add(gdstk.Label('vpd[1]', (-11.915,-6.185), layer=68, texttype=5))
opendvs_pixel2x2_top.add(gdstk.Label('vpd[0]', (-11.915,5.825), layer=68, texttype=5))
opendvs_pixel2x2_top.add(gdstk.Label('DiffBn', (6.085,10.75), layer=69, texttype=5))
opendvs_pixel2x2_top.add(gdstk.Label('DiffBn', (6.085,-11.11), layer=69, texttype=5))
opendvs_pixel2x2_top.add(gdstk.Label('VddA18', (5.955,-11.61), layer=69, texttype=5))
opendvs_pixel2x2_top.add(gdstk.Label('VddA18', (-17.785,-11.61), layer=69, texttype=5))
opendvs_pixel2x2_top.add(gdstk.Label('VddA18', (5.955,12.39), layer=69, texttype=5))
opendvs_pixel2x2_top.add(gdstk.Label('VddA18', (-17.785,12.39), layer=69, texttype=5))
opendvs_pixel2x2_top.add(gdstk.Label('rowReadOFF[1]', (-17.785,-1.42), layer=69, texttype=5))
opendvs_pixel2x2_top.add(gdstk.Label('rowReadOFF[1]', (5.955,-1.42), layer=69, texttype=5))
opendvs_pixel2x2_top.add(gdstk.Label('rowReadON[1]', (-17.785,-1.02), layer=69, texttype=5))
opendvs_pixel2x2_top.add(gdstk.Label('rowReadON[1]', (5.955,-1.02), layer=69, texttype=5))
opendvs_pixel2x2_top.add(gdstk.Label('GndD', (-17.785,-0.18), layer=69, texttype=5))
opendvs_pixel2x2_top.add(gdstk.Label('GndD', (5.955,-0.18), layer=69, texttype=5))
opendvs_pixel2x2_top.add(gdstk.Label('rowReadOFF[0]', (-17.785,1.06), layer=69, texttype=5))
opendvs_pixel2x2_top.add(gdstk.Label('rowReadOFF[0]', (5.955,1.06), layer=69, texttype=5))
opendvs_pixel2x2_top.add(gdstk.Label('rowReadON[0]', (-17.785,0.66), layer=69, texttype=5))
opendvs_pixel2x2_top.add(gdstk.Label('rowReadON[0]', (5.955,0.66), layer=69, texttype=5))
opendvs_pixel2x2_top.add(gdstk.Label('GndA', (-17.785,-12.75), layer=69, texttype=5))
opendvs_pixel2x2_top.add(gdstk.Label('GndA', (5.955,-12.75), layer=69, texttype=5))
opendvs_pixel2x2_top.add(gdstk.Label('GndA', (-17.785,11.25), layer=69, texttype=5))
opendvs_pixel2x2_top.add(gdstk.Label('GndA', (5.955,11.25), layer=69, texttype=5))
opendvs_pixel2x2_top.add(gdstk.Label('RefrBp', (-4.97,11.675), layer=70, texttype=5))
opendvs_pixel2x2_top.add(gdstk.Label('RefrBp', (-4.97,-12.035), layer=70, texttype=5))
opendvs_pixel2x2_top.add(gdstk.Label('PrBp', (-5.6,11.675), layer=70, texttype=5))
opendvs_pixel2x2_top.add(gdstk.Label('PrBp', (-5.6,-12.035), layer=70, texttype=5))
opendvs_pixel2x2_top.add(gdstk.Label('PrSFBp', (-6.23,11.675), layer=70, texttype=5))
opendvs_pixel2x2_top.add(gdstk.Label('PrSFBp', (-6.23,-12.035), layer=70, texttype=5))
opendvs_pixel2x2_top.add(gdstk.Label('readLine[0]', (-17.6,-11.195), layer=70, texttype=5))
opendvs_pixel2x2_top.add(gdstk.Label('readLine[0]', (-17.6,12.515), layer=70, texttype=5))
opendvs_pixel2x2_top.add(gdstk.Label('pixRst[0]', (-16.97,-11.195), layer=70, texttype=5))
opendvs_pixel2x2_top.add(gdstk.Label('pixRst[0]', (-16.97,12.515), layer=70, texttype=5))
opendvs_pixel2x2_top.add(gdstk.Label('pixRst[1]', (5.14,12.515), layer=70, texttype=5))
opendvs_pixel2x2_top.add(gdstk.Label('pixRst[1]', (5.14,-11.195), layer=70, texttype=5))
opendvs_pixel2x2_top.add(gdstk.Label('readLine[1]', (5.77,12.515), layer=70, texttype=5))
opendvs_pixel2x2_top.add(gdstk.Label('readLine[1]', (5.77,-11.195), layer=70, texttype=5))
opendvs_pixel2x2_top.add(gdstk.Label('DiffBn', (-7.49,11.675), layer=70, texttype=5))
opendvs_pixel2x2_top.add(gdstk.Label('DiffBn', (-7.49,-12.035), layer=70, texttype=5))
opendvs_pixel2x2_top.add(gdstk.Label('OffBn', (-6.86,11.675), layer=70, texttype=5))
opendvs_pixel2x2_top.add(gdstk.Label('OffBn', (-6.86,-12.035), layer=70, texttype=5))
opendvs_pixel2x2_top.add(gdstk.Label('OnBn', (-4.34,11.675), layer=70, texttype=5))
opendvs_pixel2x2_top.add(gdstk.Label('OnBn', (-4.34,-12.035), layer=70, texttype=5))
opendvs_pixel2x2_top.add(gdstk.Label('VddA18', (6.082,-0.18), layer=71, texttype=5))
opendvs_pixel2x2_top.add(gdstk.Label('VddA18', (-17.915,-0.18), layer=71, texttype=5))
opendvs_pixel2x2_top.add(gdstk.Label('VddA18', (-5.915,-12.18), layer=71, texttype=5))
opendvs_pixel2x2_top.add(gdstk.Label('VddA18', (-5.915,11.82), layer=71, texttype=5))
opendvs_pixel2x2_top.add(gdstk.Label('GndA', (-5.915,13.865), layer=72, texttype=5))

lib.write_gds('openDVS_pixel2x2_top.gds')
